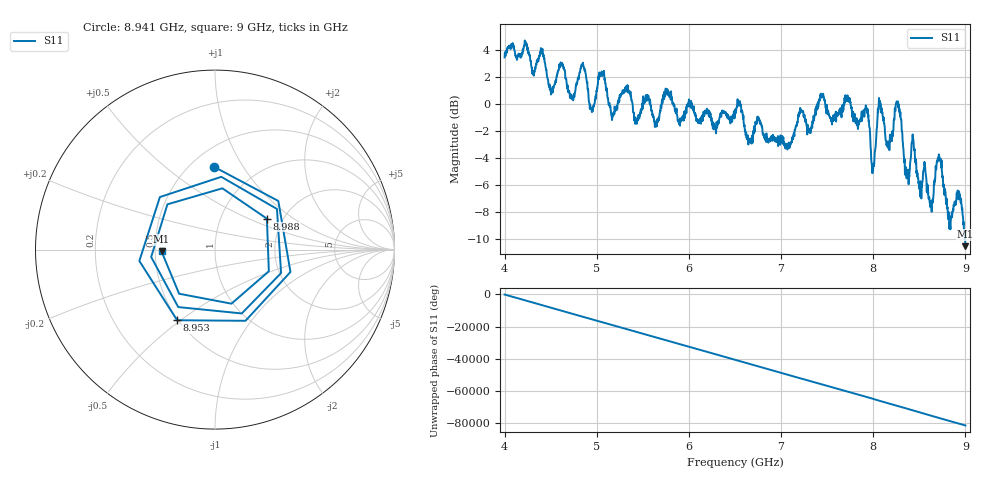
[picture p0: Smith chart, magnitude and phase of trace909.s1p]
! Created with skrf 1.8.0 (http://scikit-rf.org).
# Hz S RI R 50.0
!freq ReS11 ImS11
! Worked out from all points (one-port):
!   1601 points, 4 GHz to 9 GHz, reference 50 ohm
!   lowest |S11| = -10.5 dB at 9 GHz (marker M1), VSWR 1.85, Z = 27 - j0.595 ohm
!   |S11| at or under -10 dB: 8.993526 GHz to 8.996004 GHz (2.478 MHz wide, 0.0276 % of centre); 8.997102 GHz to end of sweep
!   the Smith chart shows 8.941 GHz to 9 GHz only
!   S11 on the Smith chart (normalised r, x): 8.941 GHz: 0.64, +0.75; 8.953 GHz: 0.49, -0.49; 8.988 GHz: 1.66, +0.64; 9 GHz: 0.54, -0.01
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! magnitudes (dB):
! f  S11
! 4 GHz  3.4
! 4.406 GHz  4.0
! 4.509 GHz  0.9
! 4.625 GHz  2.9
! 4.734 GHz  0.5
! 4.856 GHz  2.7
! 4.944 GHz  -0.4
! 5.053 GHz  2.4
! 5.166 GHz  -1.2
! 5.25 GHz  0.7
! 5.875 GHz  -0.9
! 6.5 GHz  -0.7
! 7.125 GHz  -2.4
! 7.75 GHz  0.1
! 7.931 GHz  -0.4
! 7.997 GHz  -5.0
! 8.069 GHz  0.0
! 8.159 GHz  -3.2
! 8.269 GHz  0.2
! 8.375 GHz  -5.0
! 8.438 GHz  -2.9
! 8.625 GHz  -7.6
! 8.716 GHz  -3.8
! 8.825 GHz  -9.2
! 8.941 GHz  -6.7
! 8.953 GHz  -7.0
! 8.988 GHz  -9.5
! 9 GHz  -10.5
